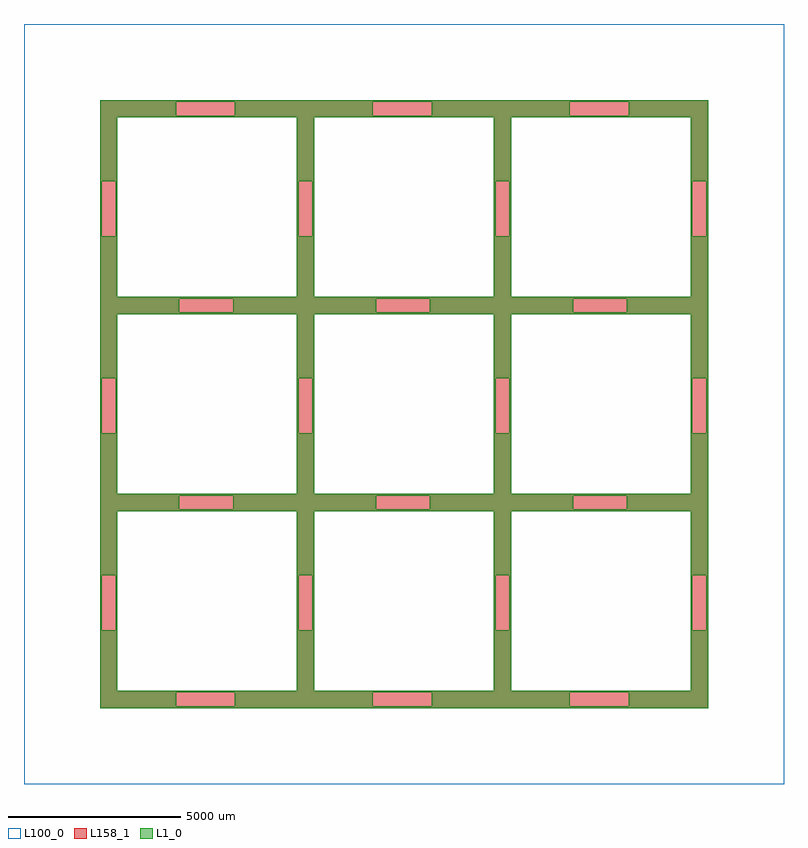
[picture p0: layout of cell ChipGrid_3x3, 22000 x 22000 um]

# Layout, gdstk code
import gdstk
lib = gdstk.Library(unit=1e-6, precision=1e-09)
def R(c, l, rs):  # rectangles x0, y0, x1, y1
    for r in rs: c.add(gdstk.rectangle(r[:2], r[2:], *l))
def P(c, l, *ps):  # polygons
    for p in ps: c.add(gdstk.Polygon(p, *l))
L1_0 = (1, 0)
L100_0 = (100, 0)
L158_1 = (158, 1)

chipgrid_3x3 = lib.new_cell('ChipGrid_3x3')
R(chipgrid_3x3, L1_0, [(-8800,-8800,-8555,-8555), (8555,-8800,8800,-8555), (-8800,8555,-8555,8800), (8555,8555,8800,8800)])
P(chipgrid_3x3, L1_0, [(-8545,-8800),(-8545,-8555),(-8300,-8555),(-8300,-8545),(-8545,-8545),(-8545,-8350),(-6600,-8350),(-6600,-8750),(-4900,-8750),(-4900,-8350),(-8545,-8350),(-8545,-8300),(-8555,-8300),(-8555,-8545),(-8800,-8545),(-8800,-4950),(-8750,-4950),(-8750,-6550),(-8350,-6550),(-8350,-4950),(-8800,-4950),(-8800,-2855),(-8555,-2855),(-8555,-3100),(-8300,-3100),(-8300,-8300),(-3100,-8300),(-3100,-4950),(-3050,-4950),(-3050,-6550),(-2650,-6550),(-2650,-4950),(-3100,-4950),(-3100,-3100),(-8545,-3100),(-8545,-2855),(-8300,-2855),(-8300,-2845),(-8545,-2845),(-8545,-2650),(-6500,-2650),(-6500,-3050),(-4950,-3050),(-4950,-2650),(-8545,-2650),(-8545,-2600),(-8555,-2600),(-8555,-2845),(-8800,-2845),(-8800,750),(-8750,750),(-8750,-850),(-8350,-850),(-8350,750),(-8800,750),(-8800,2845),(-8555,2845),(-8555,2600),(-8300,2600),(-8300,-2600),(-2855,-2600),(-2855,-2845),(-3100,-2845),(-3100,-2855),(-2855,-2855),(-2855,-3100),(-2600,-3100),(-2600,-8300),(2600,-8300),(2600,-4950),(2650,-4950),(2650,-6550),(3050,-6550),(3050,-4950),(2600,-4950),(2600,-3100),(-2845,-3100),(-2845,-2855),(-2600,-2855),(-2600,-2845),(-2845,-2845),(-2845,-2650),(-800,-2650),(-800,-3050),(750,-3050),(750,-2650),(-2845,-2650),(-2845,-2600),(-3100,-2600),(-3100,750),(-3050,750),(-3050,-850),(-2650,-850),(-2650,750),(-3100,750),(-3100,2600),(-8545,2600),(-8545,2845),(-8300,2845),(-8300,2855),(-8545,2855),(-8545,3050),(-6500,3050),(-6500,2650),(-4950,2650),(-4950,3050),(-8545,3050),(-8545,3100),(-8555,3100),(-8555,2855),(-8800,2855),(-8800,6450),(-8750,6450),(-8750,4850),(-8350,4850),(-8350,6450),(-8800,6450),(-8800,8545),(-8555,8545),(-8555,8300),(-8300,8300),(-8300,3100),(-2855,3100),(-2855,2855),(-3100,2855),(-3100,2845),(-2855,2845),(-2855,2600),(-2600,2600),(-2600,-2600),(2845,-2600),(2845,-2845),(2600,-2845),(2600,-2855),(2845,-2855),(2845,-3100),(3100,-3100),(3100,-8300),(8300,-8300),(8300,-4950),(8350,-4950),(8350,-6550),(8750,-6550),(8750,-4950),(8300,-4950),(8300,-3100),(2855,-3100),(2855,-2855),(3100,-2855),(3100,-2845),(2855,-2845),(2855,-2650),(4900,-2650),(4900,-3050),(6450,-3050),(6450,-2650),(2855,-2650),(2855,-2600),(2600,-2600),(2600,750),(2650,750),(2650,-850),(3050,-850),(3050,750),(2600,750),(2600,2600),(-2845,2600),(-2845,2845),(-2600,2845),(-2600,2855),(-2845,2855),(-2845,3050),(-800,3050),(-800,2650),(750,2650),(750,3050),(-2845,3050),(-2845,3100),(-3100,3100),(-3100,6450),(-3050,6450),(-3050,4850),(-2650,4850),(-2650,6450),(-3100,6450),(-3100,8300),(-8545,8300),(-8545,8545),(-8300,8545),(-8300,8555),(-8545,8555),(-8545,8750),(-6600,8750),(-6600,8350),(-4900,8350),(-4900,8750),(-8545,8750),(-8545,8800),(-2855,8800),(-2855,8555),(-3100,8555),(-3100,8545),(-2855,8545),(-2855,8300),(-2600,8300),(-2600,3100),(2845,3100),(2845,2855),(2600,2855),(2600,2845),(2845,2845),(2845,2600),(3100,2600),(3100,-2600),(8300,-2600),(8300,750),(8350,750),(8350,-850),(8750,-850),(8750,750),(8300,750),(8300,2600),(2855,2600),(2855,2845),(3100,2845),(3100,2855),(2855,2855),(2855,3050),(4900,3050),(4900,2650),(6450,2650),(6450,3050),(2855,3050),(2855,3100),(2600,3100),(2600,6450),(2650,6450),(2650,4850),(3050,4850),(3050,6450),(2600,6450),(2600,8300),(-2845,8300),(-2845,8545),(-2600,8545),(-2600,8555),(-2845,8555),(-2845,8750),(-900,8750),(-900,8350),(800,8350),(800,8750),(-2845,8750),(-2845,8800),(2845,8800),(2845,8555),(2600,8555),(2600,8545),(2845,8545),(2845,8300),(3100,8300),(3100,3100),(8300,3100),(8300,6450),(8350,6450),(8350,4850),(8750,4850),(8750,6450),(8300,6450),(8300,8300),(2855,8300),(2855,8545),(3100,8545),(3100,8555),(2855,8555),(2855,8750),(4800,8750),(4800,8350),(6500,8350),(6500,8750),(2855,8750),(2855,8800),(8545,8800),(8545,8555),(8300,8555),(8300,8545),(8545,8545),(8545,8300),(8555,8300),(8555,8545),(8800,8545),(8800,2855),(8555,2855),(8555,3100),(8545,3100),(8545,2855),(8300,2855),(8300,2845),(8545,2845),(8545,2600),(8555,2600),(8555,2845),(8800,2845),(8800,-2845),(8555,-2845),(8555,-2600),(8545,-2600),(8545,-2845),(8300,-2845),(8300,-2855),(8545,-2855),(8545,-3100),(8555,-3100),(8555,-2855),(8800,-2855),(8800,-8545),(8555,-8545),(8555,-8300),(8545,-8300),(8545,-8545),(8300,-8545),(8300,-8555),(8545,-8555),(8545,-8800),(2855,-8800),(2855,-8555),(3100,-8555),(3100,-8545),(2855,-8545),(2855,-8350),(4800,-8350),(4800,-8750),(6500,-8750),(6500,-8350),(2855,-8350),(2855,-8300),(2845,-8300),(2845,-8545),(2600,-8545),(2600,-8555),(2845,-8555),(2845,-8800),(-2845,-8800),(-2845,-8555),(-2600,-8555),(-2600,-8545),(-2845,-8545),(-2845,-8350),(-900,-8350),(-900,-8750),(800,-8750),(800,-8350),(-2845,-8350),(-2845,-8300),(-2855,-8300),(-2855,-8545),(-3100,-8545),(-3100,-8555),(-2855,-8555),(-2855,-8800)])
R(chipgrid_3x3, L100_0, [(-11000,-11000,11000,11000)])
P(chipgrid_3x3, L158_1, [(-8800,-8800),(-8800,-3100),(-8300,-3100),(-8300,-8300),(-3100,-8300),(-3100,-3100),(-2600,-3100),(-2600,-8300),(2600,-8300),(2600,-3100),(3100,-3100),(3100,-8300),(8300,-8300),(8300,-3100),(-8800,-3100),(-8800,2600),(-8300,2600),(-8300,-2600),(-3100,-2600),(-3100,2600),(-2600,2600),(-2600,-2600),(2600,-2600),(2600,2600),(3100,2600),(3100,-2600),(8300,-2600),(8300,2600),(-8800,2600),(-8800,8300),(-8300,8300),(-8300,3100),(-3100,3100),(-3100,8300),(-2600,8300),(-2600,3100),(2600,3100),(2600,8300),(3100,8300),(3100,3100),(8300,3100),(8300,8300),(-8800,8300),(-8800,8800),(8800,8800),(8800,-8800)])

lib.write_gds('ChipGrid_3x3.gds')
